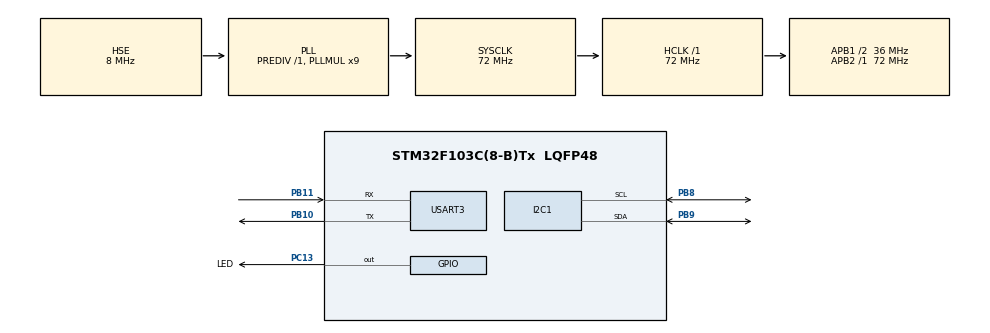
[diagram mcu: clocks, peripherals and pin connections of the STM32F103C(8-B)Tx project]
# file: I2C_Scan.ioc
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Mcu.Family=STM32F1
Mcu.Name=STM32F103C(8-B)Tx
Mcu.Package=LQFP48
NVIC.PriorityGroup=NVIC_PRIORITYGROUP_4
PA13.Mode=Serial_Wire
PA13.Signal=SYS_JTMS-SWDIO
PA14.Mode=Serial_Wire
PA14.Signal=SYS_JTCK-SWCLK
PB10.Mode=Asynchronous
PB10.Signal=USART3_TX
PB11.Mode=Asynchronous
PB11.Signal=USART3_RX
PB8.Mode=I2C
PB8.Signal=I2C1_SCL
PB9.Mode=I2C
PB9.Signal=I2C1_SDA
PC13-TAMPER-RTC.GPIO_Label=LED
PC13-TAMPER-RTC.Signal=GPIO_Output
PD0-OSC_IN.Mode=HSE-External-Oscillator
PD0-OSC_IN.Signal=RCC_OSC_IN
PD1-OSC_OUT.Mode=HSE-External-Oscillator
PD1-OSC_OUT.Signal=RCC_OSC_OUT
ProjectManager.HeapSize=0x200
ProjectManager.StackSize=0x400
ProjectManager.TargetToolchain=STM32CubeIDE
RCC.AHBFreq_Value=72000000
RCC.APB1CLKDivider=RCC_HCLK_DIV2
RCC.APB1Freq_Value=36000000
RCC.APB1TimFreq_Value=72000000
RCC.APB2Freq_Value=72000000
RCC.APB2TimFreq_Value=72000000
RCC.HCLKFreq_Value=72000000
RCC.PLLMUL=RCC_PLL_MUL9
RCC.PLLSourceVirtual=RCC_PLLSOURCE_HSE
RCC.SYSCLKFreq_VALUE=72000000
RCC.SYSCLKSource=RCC_SYSCLKSOURCE_PLLCLK
RCC.USBFreq_Value=72000000
USART3.VirtualMode=VM_ASYNC
board=custom

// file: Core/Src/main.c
/* USER CODE BEGIN Header */
/**
  ******************************************************************************
  * @file           : main.c
  * @brief          : Main program body
  ******************************************************************************
  * @attention
  *
  * Copyright (c) 2023 STMicroelectronics.
  * All rights reserved.
  *
  * This software is licensed under terms that can be found in the LICENSE file
  * in the root directory of this software component.
  * If no LICENSE file comes with this software, it is provided AS-IS.
  *
  ******************************************************************************
  */
/* USER CODE END Header */
#include "main.h"

/* USER CODE BEGIN Includes */
#include <stdio.h>
/* USER CODE END Includes */

/* USER CODE BEGIN PTD */

uint8_t Buffer[25] = {0};
uint8_t Space[] = " - ";
uint8_t StartMSG[] = "Starting I2C Scanning: \r\n";
uint8_t EndMSG[] = "Done! \r\n\r\n";
/* USER CODE END PTD */

/* USER CODE BEGIN PD */
#define SHT31_ADDRESS 0x44
/* USER CODE END PD */

I2C_HandleTypeDef hi2c1;

UART_HandleTypeDef huart3;

void SystemClock_Config(void);
static void MX_GPIO_Init(void);
static void MX_I2C1_Init(void);
static void MX_USART3_UART_Init(void);

/* USER CODE BEGIN 0 */
int _write(int file, char *ptr, int len){
	HAL_UART_Transmit(&huart3, (uint8_t*)ptr, len, HAL_MAX_DELAY);
	return len;
}
/* USER CODE END 0 */

int main(void)
{
  /* USER CODE BEGIN 1 */
	uint8_t i = 0, ret;

  /* USER CODE END 1 */

  /* MCU Configuration--------------------------------------------------------*/

  /* Reset of all peripherals, Initializes the Flash interface and the Systick. */
  HAL_Init();

  /* Configure the system clock */
  SystemClock_Config();

  /* Initialize all configured peripherals */
  MX_GPIO_Init();
  MX_I2C1_Init();
  MX_USART3_UART_Init();
  /* USER CODE BEGIN 2 */
  HAL_Delay(1000);

  /* USER CODE END 2 */

  /* Infinite loop */
  /* USER CODE BEGIN WHILE */
  while (1)
  {
	  /*-[ I2C Bus Scanning ]-*/
	      HAL_UART_Transmit(&huart3, StartMSG, sizeof(StartMSG), 10000);
	      for(i=1; i<128; i++)
	      {
	          ret = HAL_I2C_IsDeviceReady(&hi2c1, (uint16_t)(i<<1), 3, 5);
	          if (ret != HAL_OK) /* No ACK Received At That Address */
	          {
	              HAL_UART_Transmit(&huart3, Space, sizeof(Space), 10000);
	          }
	          else if(ret == HAL_OK)
	          {
	              sprintf(Buffer, "0x%X", i);
	              HAL_UART_Transmit(&huart3, Buffer, sizeof(Buffer), 10000);
	          }
	      }
	      HAL_UART_Transmit(&huart3, EndMSG, sizeof(EndMSG), 10000);
	      /*--[ Scanning Done ]--*/

    /* USER CODE END WHILE */

    /* USER CODE BEGIN 3 */
	  	HAL_GPIO_WritePin(LED_GPIO_Port, LED_Pin, 1);
	  	HAL_Delay(2500);
	  	HAL_GPIO_WritePin(LED_GPIO_Port, LED_Pin, 0);
		HAL_Delay(2500);
  }
  /* USER CODE END 3 */
}

void SystemClock_Config(void)
{
  RCC_OscInitTypeDef RCC_OscInitStruct = {0};
  RCC_ClkInitTypeDef RCC_ClkInitStruct = {0};

  /** Initializes the RCC Oscillators according to the specified parameters
  * in the RCC_OscInitTypeDef structure.
  */
  RCC_OscInitStruct.OscillatorType = RCC_OSCILLATORTYPE_HSE;
  RCC_OscInitStruct.HSEState = RCC_HSE_ON;
  RCC_OscInitStruct.HSEPredivValue = RCC_HSE_PREDIV_DIV1;
  RCC_OscInitStruct.HSIState = RCC_HSI_ON;
  RCC_OscInitStruct.PLL.PLLState = RCC_PLL_ON;
  RCC_OscInitStruct.PLL.PLLSource = RCC_PLLSOURCE_HSE;
  RCC_OscInitStruct.PLL.PLLMUL = RCC_PLL_MUL9;
  if (HAL_RCC_OscConfig(&RCC_OscInitStruct) != HAL_OK)
  {
    Error_Handler();
  }

  /** Initializes the CPU, AHB and APB buses clocks
  */
  RCC_ClkInitStruct.ClockType = RCC_CLOCKTYPE_HCLK|RCC_CLOCKTYPE_SYSCLK
                              |RCC_CLOCKTYPE_PCLK1|RCC_CLOCKTYPE_PCLK2;
  RCC_ClkInitStruct.SYSCLKSource = RCC_SYSCLKSOURCE_PLLCLK;
  RCC_ClkInitStruct.AHBCLKDivider = RCC_SYSCLK_DIV1;
  RCC_ClkInitStruct.APB1CLKDivider = RCC_HCLK_DIV2;
  RCC_ClkInitStruct.APB2CLKDivider = RCC_HCLK_DIV1;

  if (HAL_RCC_ClockConfig(&RCC_ClkInitStruct, FLASH_LATENCY_2) != HAL_OK)
  {
    Error_Handler();
  }
}

static void MX_I2C1_Init(void)
{

  hi2c1.Instance = I2C1;
  hi2c1.Init.ClockSpeed = 100000;
  hi2c1.Init.DutyCycle = I2C_DUTYCYCLE_2;
  hi2c1.Init.OwnAddress1 = 0;
  hi2c1.Init.AddressingMode = I2C_ADDRESSINGMODE_7BIT;
  hi2c1.Init.DualAddressMode = I2C_DUALADDRESS_DISABLE;
  hi2c1.Init.OwnAddress2 = 0;
  hi2c1.Init.GeneralCallMode = I2C_GENERALCALL_DISABLE;
  hi2c1.Init.NoStretchMode = I2C_NOSTRETCH_DISABLE;
  if (HAL_I2C_Init(&hi2c1) != HAL_OK)
  {
    Error_Handler();
  }

}

static void MX_USART3_UART_Init(void)
{

  huart3.Instance = USART3;
  huart3.Init.BaudRate = 115200;
  huart3.Init.WordLength = UART_WORDLENGTH_8B;
  huart3.Init.StopBits = UART_STOPBITS_1;
  huart3.Init.Parity = UART_PARITY_NONE;
  huart3.Init.Mode = UART_MODE_TX_RX;
  huart3.Init.HwFlowCtl = UART_HWCONTROL_NONE;
  huart3.Init.OverSampling = UART_OVERSAMPLING_16;
  if (HAL_UART_Init(&huart3) != HAL_OK)
  {
    Error_Handler();
  }

}

static void MX_GPIO_Init(void)
{
  GPIO_InitTypeDef GPIO_InitStruct = {0};

  /* GPIO Ports Clock Enable */
  __HAL_RCC_GPIOC_CLK_ENABLE();
  __HAL_RCC_GPIOD_CLK_ENABLE();
  __HAL_RCC_GPIOB_CLK_ENABLE();
  __HAL_RCC_GPIOA_CLK_ENABLE();

  /*Configure GPIO pin Output Level */
  HAL_GPIO_WritePin(LED_GPIO_Port, LED_Pin, GPIO_PIN_RESET);

  /*Configure GPIO pin : LED_Pin */
  GPIO_InitStruct.Pin = LED_Pin;
  GPIO_InitStruct.Mode = GPIO_MODE_OUTPUT_PP;
  GPIO_InitStruct.Pull = GPIO_NOPULL;
  GPIO_InitStruct.Speed = GPIO_SPEED_FREQ_LOW;
  HAL_GPIO_Init(LED_GPIO_Port, &GPIO_InitStruct);

}

void Error_Handler(void)
{
  __disable_irq();
  while (1)
  {
  }
}
